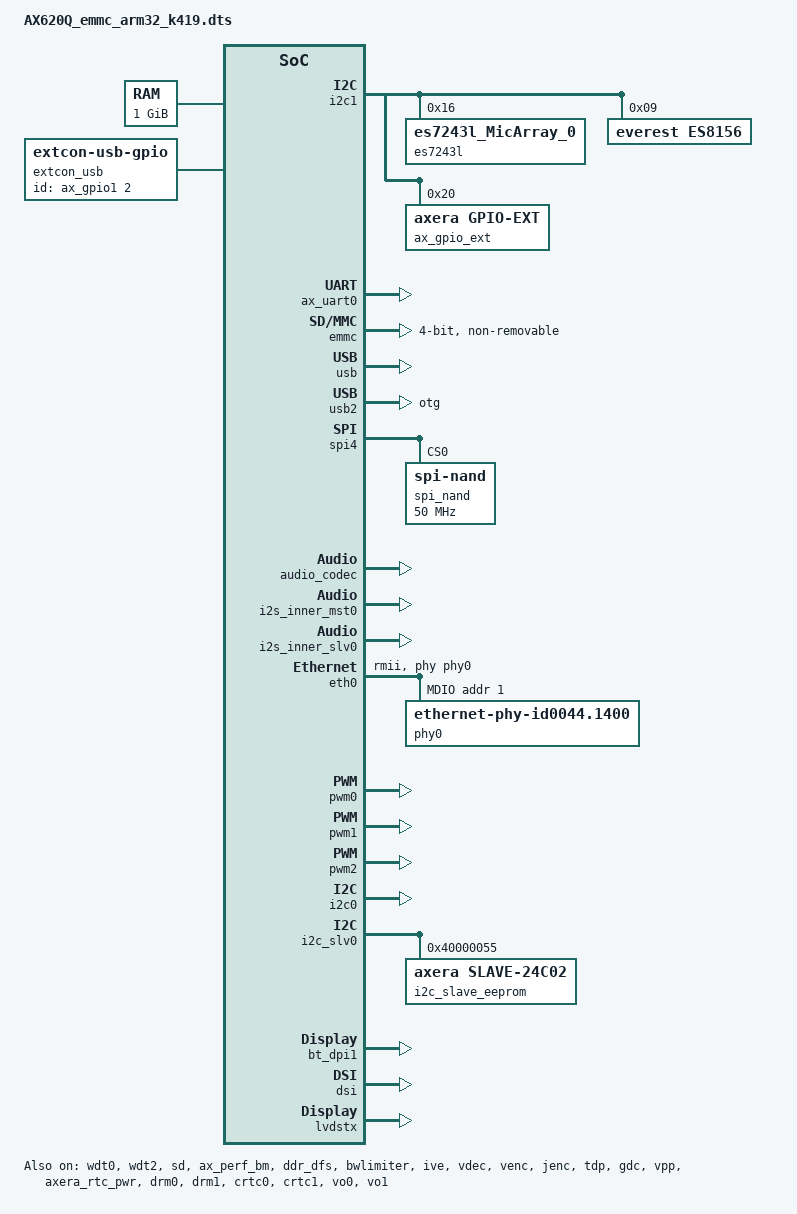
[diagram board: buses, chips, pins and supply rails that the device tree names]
// SPDX-License-Identifier: GPL-2.0
/**************************************************************************************************
 *
 * Copyright (c) 2019-2024 Axera Semiconductor Co., Ltd. All Rights Reserved.
 *
 * This dts file is the property of Axera Semiconductor Co., Ltd. and
 * may not be copied or distributed in any isomorphic form without the prior
 * written consent of Axera Semiconductor Co., Ltd.
 *
 **************************************************************************************************/

/dts-v1/;
#include "AX620E.dtsi"
/ {
	memory@40000000 {
		device_type = "memory";
		reg = <0x0 0x40000000 0x0 0x40000000>;
	};
	reserved-memory {
		#address-cells = <2>;
		#size-cells = <2>;
		ranges;

		axera_memory_dump@0 {
			compatible = "axera_memory_dump";
			reg = <0x0 0x45ffd000 0x0 0x3000>;
			dump_ranges = <0x0 0x40000000 0x0 0x50000000>;
			no-map;
		};
#ifdef SUPPORT_RECYCLE_CMM
		cmm_reserved {
			compatible = "axera, cmm_rec";
			reg = <0 CMM_RECYCLE_START_ADDR 0 CMM_RECYCLE_SIZE>;
		};
#endif
	};

	chosen {
		bootargs = BOOTARGS;
	};

	sound {
		status = "okay";
		compatible = "simple-audio-card";
		simple-audio-card,name = "Axera Audio";
		simple-audio-card,widgets =
			"Microphone", "Mic Jack";
		simple-audio-card,routing =
			"INPUT", "Mic Jack";
		#address-cells = <1>;
		#size-cells = <0>;
	/*	simple-audio-card,dai-link@0 {
			format = "i2s";
			cpu {
				sound-dai = <&i2s_mst0>;
			};
			codec {
				sound-dai = <&es7243l>;
				system-clock-frequency = <12288000>;
			};
		};
		simple-audio-card,dai-link@1 {
			format = "i2s";
			cpu {
				sound-dai = <&i2s_mst0>;
			};
			codec {
				sound-dai = <&es8156>;
				system-clock-frequency = <12288000>;
			};
		};
		simple-audio-card,dai-link@0 {
			format = "i2s";
			bitclock-master = <&codec_m2>;
			frame-master = <&codec_m2>;
			cpu {
				sound-dai = <&i2s_slv0>;
			};
			codec_m2: codec {
				sound-dai = <&es7243l>;
				system-clock-frequency = <12288000>;
			};
		};
		simple-audio-card,dai-link@1 {
			format = "i2s";
			bitclock-master = <&codec_m3>;
			frame-master = <&codec_m3>;
			cpu {
				sound-dai = <&i2s_slv0>;
			};
			codec_m3: codec {
				sound-dai = <&es8156>;
				system-clock-frequency = <12288000>;
			};
		};
		simple-audio-card,dai-link@0 {
			format = "dsp_b";
			cpu {
				sound-dai = <&i2s_tdm_mst0>;
				dai-tdm-slot-num = <2>;
				dai-tdm-slot-width = <32>;
				dai-tdm-slot-rx-mask = <1 1>;
			};
			codec {
				sound-dai = <&es7243l>;
				system-clock-frequency = <12288000>;
			};
		};
		simple-audio-card,dai-link@0 {
			format = "dsp_b";
			bitclock-master = <&codec_m5>;
			frame-master = <&codec_m5>;
			cpu {
				sound-dai = <&i2s_tdm_slv0>;
				dai-tdm-slot-num = <2>;
				dai-tdm-slot-width = <32>;
				dai-tdm-slot-rx-mask = <1 1>;
			};
			codec_m5: codec {
				sound-dai = <&es7243l>;
				system-clock-frequency = <12288000>;
			};
		};*/
		simple-audio-card,dai-link@0 {
			format = "i2s";
			bitclock-master = <&codec_m6>;
			frame-master = <&codec_m6>;
			capture-only;
			cpu {
				sound-dai = <&i2s_inner_slv0>;
			};
			codec_m6: codec {
				sound-dai = <&audio_codec>;
				system-clock-frequency = <12288000>;
			};
		};
		simple-audio-card,dai-link@1 {
			format = "i2s";
			playback-only;
			cpu {
				sound-dai = <&i2s_inner_mst0>;
			};
			codec {
				sound-dai = <&audio_codec>;
				system-clock-frequency = <12288000>;
			};
		};
	};

	axera_logctl {
		compatible = "axera,logctl";
		config = "/etc/ax_syslog.conf";
		logstate = /bits/ 8 <1 1>;
		loglevel = /bits/ 8 <4 4>;
	};

	extcon_usb: extcon_usb {
		compatible = "linux,extcon-usb-gpio";
		id-gpio = <&ax_gpio1 2 0>; /* GPIO1_A2 */
		status = "okay";
	};

	vfb0: vfb@0 {
		compatible = "axera,vfb";
		id = <0>;
		width = <1920>;
		height = <1080>;
		bpp = <32>;
		buf-num = <2>;
		status = "okay";
	};

	vfb1: vfb@1 {
		compatible = "axera,vfb";
		id = <1>;
		width = <64>;
		height = <64>;
		bpp = <32>;
		buf-num = <1>;
		cursor;
		status = "okay";
	};

	vfb2: vfb@2 {
		compatible = "axera,vfb";
		id = <2>;
		width = <64>;
		height = <64>;
		bpp = <32>;
		buf-num = <1>;
		cursor;
		status = "okay";
	};
};
&i2c1 {
	#address-cells = <0x1>;
	#size-cells = <0x0>;
	status = "okay";
	es7243l: es7243l@16 {
		compatible = "es7243l_MicArray_0";
		reg = <0x16>;
		#sound-dai-cells = <0>;
	};
	es8156: es8156@9 {
		compatible = "everest,es8156";
		reg = <0x9>;
		#sound-dai-cells = <0>;
	};
	ax_gpio_ext: gpio-axera@20 {
		compatible = "axera,gpio-ext";
		reg = <0x20>;
		gpio-controller;
		#gpio-cells = <2>;
		nr-gpios = <16>;
		status = "okay";
	};
	tp2803: tp2803@45 {
		status = "disabled";
		compatible = "axera,tp2803";
		reg = <0x45>;
		reset-gpio = <&ax_gpio1 0 0>;
		panel-format = <PANEL_TP2803_BT656_720x576_PAL>;
	};
};

&ax_uart0 {
	status = "okay";
};

&wdt0 {
	status = "okay";
};

&wdt2 {
	status = "okay";
};

&emmc{
	max-frequency = <200000000>;
	sdhci-caps-mask = <0x2 0x03200000>;
	bus-width = <4>;
	no-sdio;
	no-sd;
	non-removable;
	disable-wp;
	cap-mmc-hw-reset;
	/* AX630C use GPIO2_A23 */
	hw-reset = <&ax_gpio2 23 0>;
	/* AX620Q use GPIO1_A0 */
	/* hw-reset = <&ax_gpio1 0 0>; */
	cap-mmc-highspeed;
	mmc-hs200-1_8v;
	cdns,phy-input-delay-sd-highspeed = <2>;
	cdns,phy-input-delay-legacy = <4>;
	cdns,phy-input-delay-sd-uhs-sdr12 = <1>;
	cdns,phy-input-delay-sd-uhs-sdr25 = <2>;
	cdns,phy-input-delay-sd-uhs-sdr50 = <1>;
	cdns,phy-input-delay-sd-uhs-ddr50 = <2>;
	cdns,phy-input-delay-mmc-legacy = <1>;
	cdns,phy-input-delay-mmc-highspeed = <2>;
	cdns,phy-input-delay-mmc-ddr = <2>;
	cdns,phy-dll-delay-sdclk = <45>;
	cdns,phy-dll-delay-sdclk-hsmmc = <31>;
	cdns,phy-dll-delay-strobe = <18>;
	cdns,phy-dll-phase-detect-sel = <2>;
	fixed-emmc-driver-type = <4>;
	status = "okay";
};

&sd{
	sdhci-caps-mask = <0x7 0x00200000>;
	bus-width = <4>;
	max-frequency = <200000000>;
	cap-sd-highspeed;
	no-sdio;
	no-mmc;
	disable-wp;
#if 1
	broken-cd;
	//detect-gpios = <&ax_gpio1 11 0>;
#else
	cd-gpios = <&ax_gpio1 11 0>;
	cd-inverted;
	cd-debounce-delay-ms = <300>;
#endif

	cdns,phy-input-delay-sd-highspeed = <2>;
	cdns,phy-input-delay-legacy = <3>;
	cdns,phy-input-delay-sd-uhs-sdr12 = <3>;
	cdns,phy-input-delay-sd-uhs-sdr25 = <2>;
	cdns,phy-input-delay-sd-uhs-sdr50 = <1>;
	cdns,phy-input-delay-sd-uhs-ddr50 = <1>;
	cdns,phy-dll-delay-sdclk = <0>;

	status = "okay";
};

&sdio{
	sdhci-caps-mask = <0x7 0x00200000>;
	bus-width = <4>;
	max-frequency = <200000000>;
	cap-sd-highspeed;
	sd-uhs-sdr25;
	sd-uhs-sdr12;
	sd-uhs-sdr50;
	sd-uhs-ddr50;
	//sd-uhs-sdr104;
	no-sd;
	no-mmc;
	disable-wp;
	vol-sw-gpio = <&ax_gpio0 17 0>;

	cdns,phy-input-delay-sd-highspeed = <2>;
	cdns,phy-input-delay-legacy = <3>;
	cdns,phy-input-delay-sd-uhs-sdr12 = <3>;
	cdns,phy-input-delay-sd-uhs-sdr25 = <2>;
	cdns,phy-input-delay-sd-uhs-sdr50 = <0>;
	cdns,phy-input-delay-sd-uhs-ddr50 = <0>;
	cdns,phy-dll-delay-sdclk = <0>;

	status = "disabled";
};


&usb {
	status = "okay";
};

&usb2 {
	dr_mode = "otg";
	extcon = <&extcon_usb>;
};

&ax_gpio2 {
	status = "okay";
};

&spi0 {
       status = "disabled";
       /* create /dev/spidev0.0 node */
       spidev_user@0 {
               status = "okay";
               compatible = "axera,spidev";
               reg = <0>;
               spi-max-frequency = <26000000>;
       };
};

&spi1 {
       status = "disabled";
       /* create /dev/spidev1.0 node */
       spidev_user@0 {
               status = "okay";
               compatible = "axera,spidev";
               reg = <0>;
               spi-max-frequency = <26000000>;
       };
};

&spi2 {
       status = "disabled";
       /* create /dev/spidev2.0 node */
       spidev_user@0 {
               status = "okay";
               compatible = "axera,spidev";
               reg = <0>;
               spi-max-frequency = <26000000>;
       };
};

&spi4 {
	status = "okay";
	spi_nand@0 {
		compatible = "spi-nand";
		reg = <0>;
		rx-sample-delay-ns = <4>;
		spi-max-frequency = <50000000>;
	};
	/*spi_flash@0 {
		#address-cells = <1>;
		#size-cells = <1>;
		compatible = "jedec,spi-nor";
		reg = <0>;
		spi-max-frequency = <50000000>;
	};*/
};

&audio_codec {
	gpio-mic-rp = <&ax_gpio1 7 0>; /* GPIO1_A7 */
	gpio-mic-rn = <&ax_gpio1 6 0>; /* GPIO1_A6 */
	gpio-mic-ln = <&ax_gpio1 5 0>; /* GPIO1_A5 */
	gpio-mic-lp = <&ax_gpio1 4 0>; /* GPIO1_A4 */
	gpio-pa-speaker = <&ax_gpio1 12 0>;
	mic_type = "amic"; /* mic_type = "dmic"; */
	status = "okay";
};
&i2s_inner_mst0 {
	status = "okay";
	dma-buffer = <256>;
	/*i2s - pad0*/
	i2s-m-aec-cycle-sel = <0>;    /*23-22*/
	i2s-m-aec-sclk-sel = <0>;     /*21*/
	i2s-inner-codec-en = <1>;     /*20*/
	i2s-exter-codec-en = <0>;     /*19*/
	i2s-m-exter-codec-en = <0>;   /*18*/
	i2s-exter-codec-mst = <0>;    /*17*/
	i2s-m-exter-codec-mst = <0>;  /*16*/
	iis-out-tdm-en = <0>;         /*15*/
	iis-m-out-tdm-en = <0>;       /*14*/
	i2s-m-rx0-sel = <0>;          /*13*/
	i2s-m-rx1-sel = <0>;          /*12-11*/
	i2s-s-rx0-sel = <0>;          /*10-9*/
	i2s-s-rx1-sel = <2>;          /*8-7*/
	i2s-s-sclk-sel = <0>;         /*6-5*/
	tdm-m-rx-sel = <0>;           /*4-3*/
	tdm-s-rx-sel = <0>;           /*2-1*/
	tdm-s-sclk-sel = <0>;         /*0*/
};

&i2s_inner_slv0 {
	status = "okay";
	dma-buffer = <256>;
	/*i2s - pad0*/
	i2s-m-aec-cycle-sel = <0>;    /*23-22*/
	i2s-m-aec-sclk-sel = <0>;     /*21*/
	i2s-inner-codec-en = <1>;     /*20*/
	i2s-exter-codec-en = <0>;     /*19*/
	i2s-m-exter-codec-en = <0>;   /*18*/
	i2s-exter-codec-mst = <0>;    /*17*/
	i2s-m-exter-codec-mst = <0>;  /*16*/
	iis-out-tdm-en = <0>;         /*15*/
	iis-m-out-tdm-en = <0>;       /*14*/
	i2s-m-rx0-sel = <0>;          /*13*/
	i2s-m-rx1-sel = <0>;          /*12-11*/
	i2s-s-rx0-sel = <0>;          /*10-9*/
	i2s-s-rx1-sel = <2>;          /*8-7*/
	i2s-s-sclk-sel = <0>;         /*6-5*/
	tdm-m-rx-sel = <0>;           /*4-3*/
	tdm-s-rx-sel = <0>;           /*2-1*/
	tdm-s-sclk-sel = <0>;         /*0*/
};

&i2s_mst0 {
	status = "disabled";
	/*i2s - pad0*/
	i2s-m-aec-cycle-sel = <0>;    /*23-22*/
	i2s-m-aec-sclk-sel = <0>;     /*21*/
	i2s-inner-codec-en = <0>;     /*20*/
	i2s-exter-codec-en = <1>;     /*19*/
	i2s-m-exter-codec-en = <0>;   /*18*/
	i2s-exter-codec-mst = <1>;    /*17*/
	i2s-m-exter-codec-mst = <0>;  /*16*/
	iis-out-tdm-en = <0>;         /*15*/
	iis-m-out-tdm-en = <0>;       /*14*/
	i2s-m-rx0-sel = <0>;          /*13*/
	i2s-m-rx1-sel = <2>;          /*12-11*/
	i2s-s-rx0-sel = <0>;          /*10-9*/
	i2s-s-rx1-sel = <0>;          /*8-7*/
	i2s-s-sclk-sel = <0>;         /*6-5*/
	tdm-m-rx-sel = <0>;           /*4-3*/
	tdm-s-rx-sel = <0>;           /*2-1*/
	tdm-s-sclk-sel = <0>;         /*0*/
};

&i2s_slv0 {
	status = "disabled";
	/*i2s - pad0*/
	i2s-m-aec-cycle-sel = <0>;    /*23-22*/
	i2s-m-aec-sclk-sel = <0>;     /*21*/
	i2s-inner-codec-en = <0>;     /*20*/
	i2s-exter-codec-en = <1>;     /*19*/
	i2s-m-exter-codec-en = <0>;   /*18*/
	i2s-exter-codec-mst = <0>;    /*17*/
	i2s-m-exter-codec-mst = <0>;  /*16*/
	iis-out-tdm-en = <0>;         /*15*/
	iis-m-out-tdm-en = <0>;       /*14*/
	i2s-m-rx0-sel = <0>;          /*13*/
	i2s-m-rx1-sel = <0>;          /*12-11*/
	i2s-s-rx0-sel = <1>;          /*10-9*/
	i2s-s-rx1-sel = <3>;          /*8-7*/
	i2s-s-sclk-sel = <1>;         /*6-5*/
	tdm-m-rx-sel = <0>;           /*4-3*/
	tdm-s-rx-sel = <0>;           /*2-1*/
	tdm-s-sclk-sel = <0>;         /*0*/
};

&i2s_tdm_mst0 {
	status = "disabled";
	/*i2s - pad0*/
	i2s-m-aec-cycle-sel = <0>;    /*23-22*/
	i2s-m-aec-sclk-sel = <0>;     /*21*/
	i2s-inner-codec-en = <0>;     /*20*/
	i2s-exter-codec-en = <1>;     /*19*/
	i2s-m-exter-codec-en = <0>;   /*18*/
	i2s-exter-codec-mst = <1>;    /*17*/
	i2s-m-exter-codec-mst = <0>;  /*16*/
	iis-out-tdm-en = <1>;         /*15*/
	iis-m-out-tdm-en = <0>;       /*14*/
	i2s-m-rx0-sel = <0>;          /*13*/
	i2s-m-rx1-sel = <0>;          /*12-11*/
	i2s-s-rx0-sel = <0>;          /*10-9*/
	i2s-s-rx1-sel = <0>;          /*8-7*/
	i2s-s-sclk-sel = <0>;         /*6-5*/
	tdm-m-rx-sel = <0>;           /*4-3*/
	tdm-s-rx-sel = <0>;           /*2-1*/
	tdm-s-sclk-sel = <0>;         /*0*/
};

&i2s_tdm_slv0 {
	status = "disabled";
	/*i2s - pad0*/
	i2s-m-aec-cycle-sel = <0>;    /*23-22*/
	i2s-m-aec-sclk-sel = <0>;     /*21*/
	i2s-inner-codec-en = <0>;     /*20*/
	i2s-exter-codec-en = <1>;     /*19*/
	i2s-m-exter-codec-en = <0>;   /*18*/
	i2s-exter-codec-mst = <0>;    /*17*/
	i2s-m-exter-codec-mst = <0>;  /*16*/
	iis-out-tdm-en = <0>;         /*15*/
	iis-m-out-tdm-en = <0>;       /*14*/
	i2s-m-rx0-sel = <0>;          /*13*/
	i2s-m-rx1-sel = <0>;          /*12-11*/
	i2s-s-rx0-sel = <0>;          /*10-9*/
	i2s-s-rx1-sel = <0>;          /*8-7*/
	i2s-s-sclk-sel = <0>;         /*6-5*/
	tdm-m-rx-sel = <0>;           /*4-3*/
	tdm-s-rx-sel = <0>;           /*2-1*/
	tdm-s-sclk-sel = <0>;         /*0*/
};


#if 0
&eth0 {
	status = "okay";

	phy-handle = <&phy0>;
	phy-mode = "rgmii";
	phy-rst-gpio = <&ax_gpio1 27 0>; /* GPIO1_A27 */

	mdio {
		#address-cells = <1>;
		#size-cells = <0>;
		compatible = "snps,dwmac-mdio";
		phy0: jl2xxx-phy@1 {
			compatible = "ethernet-phy-id937c.4030";
			jl2xxx,led-enable = <JL2XXX_LED_CTRL_EN>;
			jl2xxx,led-mode = <JL2XXX_CFG_LED_MODE>;
			jl2xxx,led-period = <JL2XXX_GLOBAL_PERIOD_MS>;
			jl2xxx,led-on = <JL2XXX_GLOBAL_ON_MS>;
			jl2xxx,led-polarity = <JL2XXX_LED_POLARITY>;
			jl2xxx,patch-enable = <JL2XXX_PATCH_CTRL_EN>;
			jl2xxx,rgmii-enable = <JL2XXX_RGMII_CTRL_EN>;
			jl2xxx,rgmii-tx-delay = <JL2XXX_RGMII_TX_DLY_2NS>;
			jl2xxx,rgmii-rx-delay = <JL2XXX_RGMII_RX_DLY_2NS>;
			jl2xxx,clk-enable = <JL2XXX_CLK_CTRL_EN>;
			jl2xxx,fld-enable = <JL2XXX_FLD_CTRL_EN>;
			jl2xxx,fld-delay = <JL2XXX_FLD_DELAY>;
			jl2xxx,wol-enable = <JL2XXX_WOL_CTRL_EN>;
			jl2xxx,interrupt-enable = <JL2XXX_INTR_CTRL_EN>;
			jl2xxx,downshift-enable = <JL2XXX_DSFT_CTRL_EN>;
			jl2xxx,downshift-count = <JL2XXX_DSFT_AN_CNT>;
			jl2xxx,work_mode-enable = <JL2XXX_WORK_MODE_CTRL_EN>;
			jl2xxx,work_mode-mode = <JL2XXX_WOEK_MODE_MODE>;
			jl2xxx,lpbk-enable = <JL2XXX_LPBK_CTRL_EN>;
			jl2xxx,lpbk-mode = <JL2XXX_LPBK_MODE>;
			jl2xxx,slew_rate-enable = <JL2XXX_SLEW_RATE_CTRL_EN>;
			jl2xxx,rxc_out-enable = <JL2XXX_RXC_OUT_CTRL_EN>;
			reg = <1>;
		};
	};
};
#else
&eth0 {
	status = "okay";

	phy-handle = <&phy0>;
	phy-mode = "rmii";
	axera-ephy,led0-mode = <EPHY_LED_SPEED>;
	axera-ephy,led0-enable;
	axera-ephy,led1-mode = <EPHY_LED_LINK>;
	axera-ephy,led1-enable;
	axera-ephy,led-polarity = <EPHY_LED_LOW_ACTIVE>;
	mdio {
		#address-cells = <1>;
		#size-cells = <0>;
		compatible = "snps,dwmac-mdio";
		phy0: axera-ephy@1 {
			device_tpye = "ethernet-phy";
			compatible = "ethernet-phy-id0044.1400";
			reg = <1>;
		};
	};
};
#endif

&pwm0 {
	status = "okay";
};

&pwm1 {
	status = "okay";
};

&pwm2 {
	status = "okay";
};

&deb_gpio_lp {
	lp-status = <41 1>; /* use db_gpio41 as wakeup source */
	status = "okay";
};

&i2c0 {
	status = "okay";
};

&i2c_slv0 {
	status = "okay";
	#address-cells = <0x1>;
	#size-cells = <0x0>;
	i2c_slave_eeprom: i2c_slave_eeprom@55 {
		compatible = "axera,slave-24c02";
		reg = <0x40000055>;
		status = "okay";
	};
};

&ax_perf_bm {
	status = "okay";
};

&ax_firewall {
	status = "disabled";
};

&ddr_dfs {
       status = "okay";
};

&bwlimiter {
	status = "okay";
};

&ive {
	status = "okay";
};

&vdec {
	status = "okay";
};

&venc {
	status = "okay";
};

&jenc {
	status = "okay";
};

&tdp {
	status = "okay";
};

&gdc {
	status = "okay";
};

&vpp {
	status = "okay";
};
&axera_rtc_pwr {
        status = "okay";
};

&drm0 {
	status = "okay";
};

&drm1 {
	status = "okay";
};

&crtc0 {
	status = "okay";
};

&crtc1 {
	status = "okay";
};

&vo0 {
	status = "okay";
};

&vo1 {
	status = "okay";
};

&bt_dpi0 {
	status = "disabled";
};

&bt_dpi1 {
	status = "okay";
	dmux-sel = <0>;
};

&dsi {
	status = "okay";
};

&dma {
	status = "okay";
};

&dma_per {
	status = "okay";
};

&dmac {
	status = "disabled";
};

&panel0 {
	status = "okay";
};

&panel1 {
	status = "okay";
};

&panel_dsi {
	status = "okay";
	prepare-delay-ms = <0>;
	unprepare-delay-ms = <0>;
	enable-delay-ms = <0>;
	disable-delay-ms = <150>;
	reset-gpio = <&ax_gpio1 0 0>;
	pinctrl-names = "default";
	pinctrl-0 = <&uart2_txd_gpio1_a0_pins>;

	dsi,format = <MIPI_DSI_FMT_RGB888>;
	dsi,flags = <(MIPI_DSI_MODE_VIDEO_SYNC_PULSE | MIPI_DSI_MODE_VIDEO | MIPI_DSI_MODE_LPM |MIPI_DSI_CLOCK_NON_CONTINUOUS )>;
#if 1
	dsi,lanes = <4>;
	panel-init-seq = [39 00 04 B9 FF 83 99
                          39 00 10 B1 02 04 6B 8B 01 32 33 11 11 53 01 56 73 02 02
                          39 00 0c B2 00 80 80 AE 05 07 5A 11 00 10 10
                          39 00 2d B4 00 FF 00 AC 00 9C 00 00 08 00 00 02 00 26 02 07 09 21 03 00 00 04 A4 88 00 AC 00 9C 00 00 08 00 00 02 00 24 02 07 09 00 00 04 A4 12
                          39 05 22 D3 00 00 00 00 00 00 00 00 32 10 05 00 05 00 00 00 00 00 00 00 00 00 00 01 00 07 07 03 00 00 00 05 40
                          39 05 21 D5 00 00 00 01 02 03 00 00 00 00 19 00 18 00 20 21 00 18 00 00 00 00 00 00 00 00 31 31 30 30 2F 2F
                          39 05 21 D6 40 40 03 02 01 00 40 40 40 40 18 40 19 40 21 20 40 18 40 40 40 40 40 40 40 40 31 31 30 30 2F 2F
                          39 00 11 D8 28 02 00 2A 28 02 C0 2A 00 00 00 00 00 00 00 00
                          15 00 02 BD 01
                          39 00 11 D8 00 00 00 00 00 00 00 00 28 2A 00 2A 28 02 C0 2A
                          15 00 02 BD 02
                          39 00 09 D8 28 2A 00 2A 28 02 C0 2A
                          15 00 02 BD 00
                          39 00 03 B6 8D 8D
                          39 00 37 E0 01 49 4F 45 87 8A 8F 84 88 8D 91 94 97 9B A1 A2 A4 AA AB B0 A2 AF AF 59 54 5E 6D 01 49 4F 45 87 8A 8F 84 88 8D 91 94 97 9B A1 A2 A4 AA AB B0 A2 AF AF 59 54 5E 6D
                          15 00 02 D2 33
                          39 00 03 B6 7D 7D
                          39 00 08 BF 40 41 50 09 1A 80 CD
                          15 00 02 CC 08
                          15 05 02 36 00
                          05 00 01 35
                          05 00 01 29
                          05 00 01 11];
	panel-exit-seq = [05 00 01 10];
#else
	dsi,lanes = <2>;
	panel-init-seq = [39 00 06 FF 77 01 00 00 13
					  15 00 02 EF 08
					  39 00 06 FF 77 01 00 00 10
					  39 00 03 C0 2C 00
					  39 00 03 C1 08 02
					  39 00 03 C2 37 05
					  15 00 02 C3 02
					  15 00 02 CC 10
					  39 00 11 B0 04 0E 17 0B 0F 06 08 08 08 24 04 11 0F 2C 33 13
					  39 00 11 B1 0C 16 1D 0E 11 06 08 08 08 24 05 13 11 2D 33 1F
					  39 00 06 FF 77 01 00 00 11
					  15 00 02 B0 54
					  15 00 02 B1 76
					  15 00 02 B2 87
					  15 00 02 B3 80
					  15 00 02 B5 4B
					  15 00 02 B7 85
					  15 00 02 B8 21
					  15 00 02 C1 78
					  15 00 02 C2 78
					  15 64 02 D0 88
					  39 00 04 E0 00 00 02
					  39 00 0C E1 02 00 04 00 01 00 03 00 00 33 33
					  39 00 0D E2 11 11 33 33 6E 00 70 00 6D 00 6F 00
					  39 00 05 E3 00 00 11 11
					  39 00 03 E4 44 44
					  39 00 11 E5 03 6F 00 FF 05 71 00 FF 07 73 00 FF 09 6D 00 FF
					  39 00 05 E6 00 00 11 11
					  39 00 03 E7 44 44
					  39 00 11 E8 02 6E 00 FF 04 70 00 FF 06 72 00 FF 08 6C 00 FF
					  39 00 08 EB 00 01 4E 4E EE 44 00
					  39 00 11 ED 4F 01 23 56 7F FF FF FF FF FF FF F7 65 32 10 F4
					  39 00 07 EF 10 0D 04 08 3F 1F
					  39 00 06 FF 77 01 00 00 00
					  05 78 01 11
					  15 00 02 36 08
					  15 00 02 35 00
					  05 14 01 29];
	panel-exit-seq = [05 00 01 28];
#endif
	dsi-panel_esd_check_enable = /bits/ 8 <0>;
	dsi-panel-check-mode = /bits/ 8 <0>;
	dsi-panel-read-reg = /bits/ 8 <0x0A>;
	dsi-panel-read-length = /bits/ 8 <1>;
	dsi-panel-max-error-count = /bits/ 8 <3>;
	dsi-panel-status-value = /bits/ 8 <0x9D>;
	dsi-panel-check-interval-ms = <2000>;
};

&lvdstx {
	status = "okay";
};

&panel_lvds {
	status = "okay";
	data-mapping = "vesa-24";
};

&axera_pmu {
	status = "okay";
};

&pinctrl_ax{
	/include/ "AX620E_pinctrl.dtsi"
};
